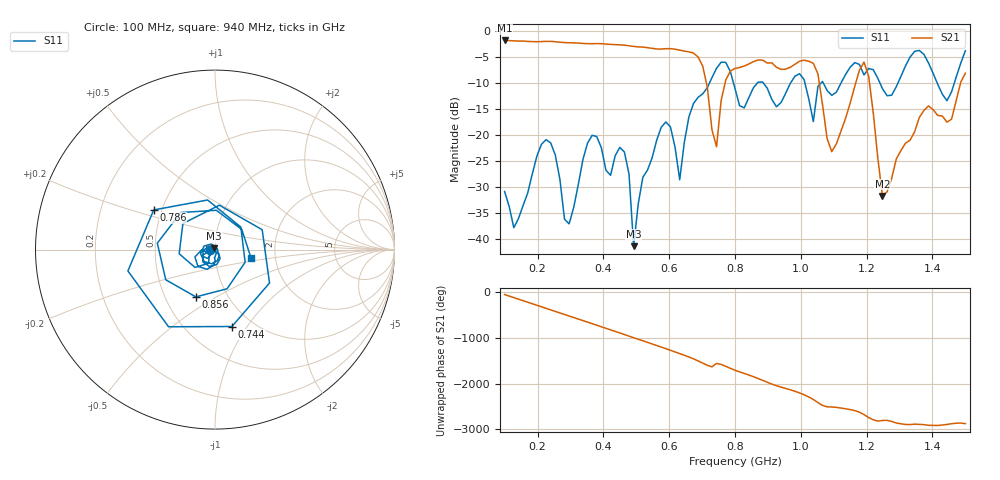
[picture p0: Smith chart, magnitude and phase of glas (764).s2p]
! NanoVNA-App
! Date: 2025-09-25 16:01:25
! Start: 100MHz Stop: 1,5GHz Points: 101
! S-Parameter data: F S11 S21 S12 S22
# Hz S RI R 50
!  Frequency  S11_Real  S11_Imag  S21_Real  S21_Imag  S12_Real  S12_Imag  S22_Real  S22_Imag
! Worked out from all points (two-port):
!   101 points, 100 MHz to 1.5 GHz, reference 50 ohm
!   highest |S21| = -1.80 dB at 100 MHz (marker M1); lowest = -31.8 dB at 1.248 GHz (marker M2)
!   |S21| within 3 dB of the highest: start of sweep to 684.3 MHz
!   lowest |S11| = -41.5 dB at 492 MHz (marker M3), VSWR 1.02, Z = 49.5 + j0.658 ohm
!   |S11| at or under -10 dB: start of sweep to 722.5 MHz; 795.4 MHz to 868 MHz (72.64 MHz wide, 8.73 % of centre); 886.2 MHz to 968.8 MHz (82.53 MHz wide, 8.9 % of centre) (the widest 3 of 7)
!   S12 and S22 are empty: the file has one direction only
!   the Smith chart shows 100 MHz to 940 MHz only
!   S11 on the Smith chart (normalised r, x): 100 MHz: 0.94, -0.01; 744 MHz: 0.80, -0.85; 786 MHz: 0.45, +0.24; 856 MHz: 0.71, -0.41; 940 MHz: 1.49, -0.14
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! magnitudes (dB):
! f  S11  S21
! 100 MHz  -30.9  -1.8
! 128 MHz  -37.9  -1.9
! 226 MHz  -20.9  -2.0
! 296 MHz  -37.2  -2.2
! 338 MHz  -24.7  -2.4
! 464 MHz  -23.3  -2.7
! 492 MHz  -41.5  -2.9
! 576 MHz  -18.5  -3.5
! 632 MHz  -28.7  -3.7
! 702 MHz  -12.1  -6.8
! 744 MHz  -7.2  -22.3
! 786 MHz  -7.8  -7.7
! 800 MHz  -11.1  -7.2
! 856 MHz  -10.9  -5.9
! 940 MHz  -13.8  -7.4
! 996 MHz  -8.2  -5.8
! 1.038 GHz  -17.4  -6.2
! 1.094 GHz  -12.4  -23.2
! 1.192 GHz  -8.5  -6.0
! 1.248 GHz  -11.1  -31.8
! 1.276 GHz  -12.4  -28.4
! 1.5 GHz  -3.8  -8.1
